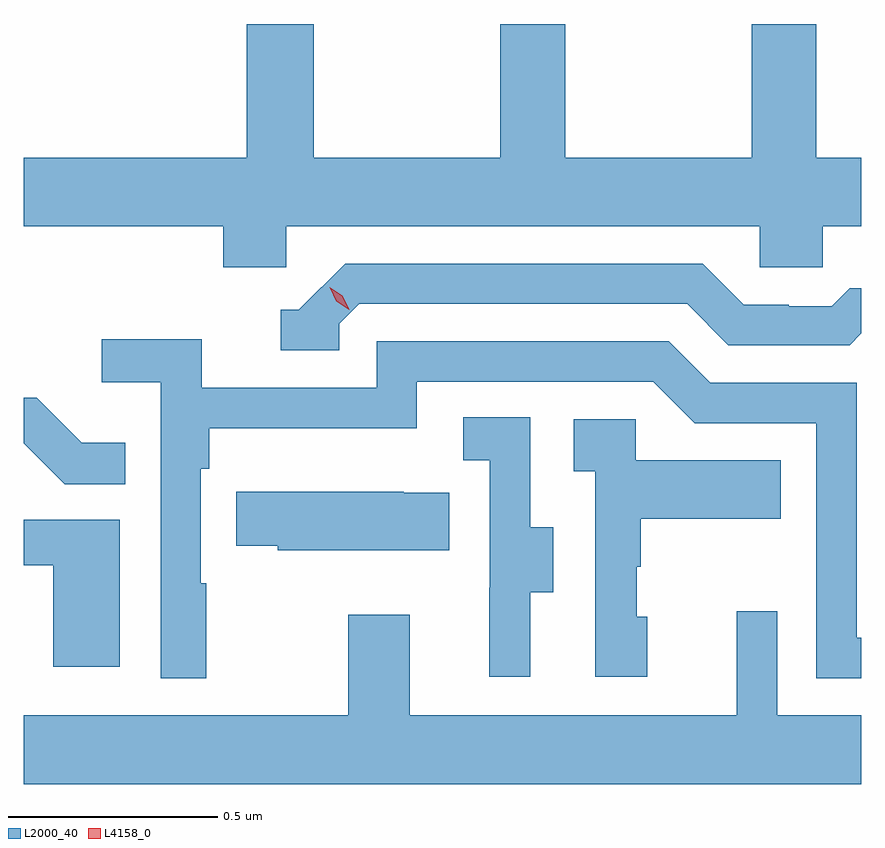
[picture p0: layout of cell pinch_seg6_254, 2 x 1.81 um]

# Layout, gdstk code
import gdstk
lib = gdstk.Library(unit=1e-6, precision=1e-09)
def P(c, l, *ps):  # polygons
    for p in ps: c.add(gdstk.Polygon(p, *l))
L2000_40 = (2000, 40)
L4158_0 = (4158, 0)

pinch_seg6_254 = lib.new_cell('pinch_seg6_254')
P(pinch_seg6_254, L2000_40, [(1142.922,922.028),(1144.053,922.028),(1144.053,921.93),(1144.203,921.93),(1144.203,922.028),(1144.295,922.028),(1144.295,922.192),(1144.188,922.192),(1144.188,922.511),(1144.033,922.511),(1144.033,922.192),(1143.588,922.192),(1143.588,922.511),(1143.433,922.511),(1143.433,922.192),(1142.988,922.192),(1142.988,922.511),(1142.828,922.511),(1142.828,922.192),(1142.295,922.192),(1142.295,922.028),(1142.771,922.028),(1142.771,921.93),(1142.922,921.93)],
  [(1143.048,921.795),(1143.096,921.843),(1143.879,921.843),(1143.978,921.744),(1144.267,921.744),(1144.295,921.772),(1144.295,921.88),(1144.267,921.88),(1144.225,921.837),(1144.122,921.837),(1144.122,921.84),(1144.015,921.84),(1143.916,921.939),(1143.063,921.939),(1142.952,921.828),(1142.909,921.828),(1142.909,921.732),(1143.048,921.732)],
  [(1142.731,921.176),(1142.718,921.176),(1142.718,921.449),(1142.738,921.449),(1142.738,921.545),(1143.234,921.545),(1143.234,921.657),(1143.798,921.657),(1143.897,921.558),(1144.188,921.558),(1144.188,920.949),(1144.295,920.949),(1144.295,921.045),(1144.284,921.045),(1144.284,921.654),(1143.934,921.654),(1143.835,921.753),(1143.138,921.753),(1143.138,921.642),(1142.72,921.642),(1142.72,921.758),(1142.481,921.758),(1142.481,921.656),(1142.622,921.656),(1142.622,920.949),(1142.731,920.949)],
  [(1142.537,921.511),(1142.433,921.511),(1142.326,921.618),(1142.295,921.618),(1142.295,921.51),(1142.393,921.412),(1142.537,921.412)],
  [(1143.505,921.154),(1143.559,921.154),(1143.559,921.309),(1143.504,921.309),(1143.504,921.572),(1143.345,921.572),(1143.345,921.469),(1143.408,921.469),(1143.408,921.165),(1143.407,921.165),(1143.407,920.952),(1143.505,920.952)],
  [(1143.784,921.096),(1143.759,921.096),(1143.759,921.215),(1143.769,921.215),(1143.769,921.329),(1144.103,921.329),(1144.103,921.469),(1143.756,921.469),(1143.756,921.567),(1143.609,921.567),(1143.609,921.443),(1143.66,921.443),(1143.66,920.952),(1143.784,920.952)],
  [(1143.311,921.391),(1143.203,921.391),(1143.203,921.394),(1142.803,921.394),(1142.803,921.265),(1142.901,921.265),(1142.901,921.254),(1143.311,921.254)],
  [(1142.524,921.327),(1142.295,921.327),(1142.295,921.219),(1142.366,921.219),(1142.366,920.976),(1142.524,920.976)],
  [(1144.295,920.86),(1144.095,920.86),(1144.095,921.109),(1143.998,921.109),(1143.998,920.86),(1143.217,920.86),(1143.217,921.1),(1143.07,921.1),(1143.07,920.86),(1142.295,920.86),(1142.295,920.696),(1144.295,920.696)])
P(pinch_seg6_254, L4158_0, [(1143.072,921.829),(1143.041,921.849),(1143.026,921.882),(1143.026,921.882),(1143.026,921.882),(1143.056,921.862),(1143.072,921.83),(1143.072,921.829)])

lib.write_gds('pinch_seg6_254.gds')
